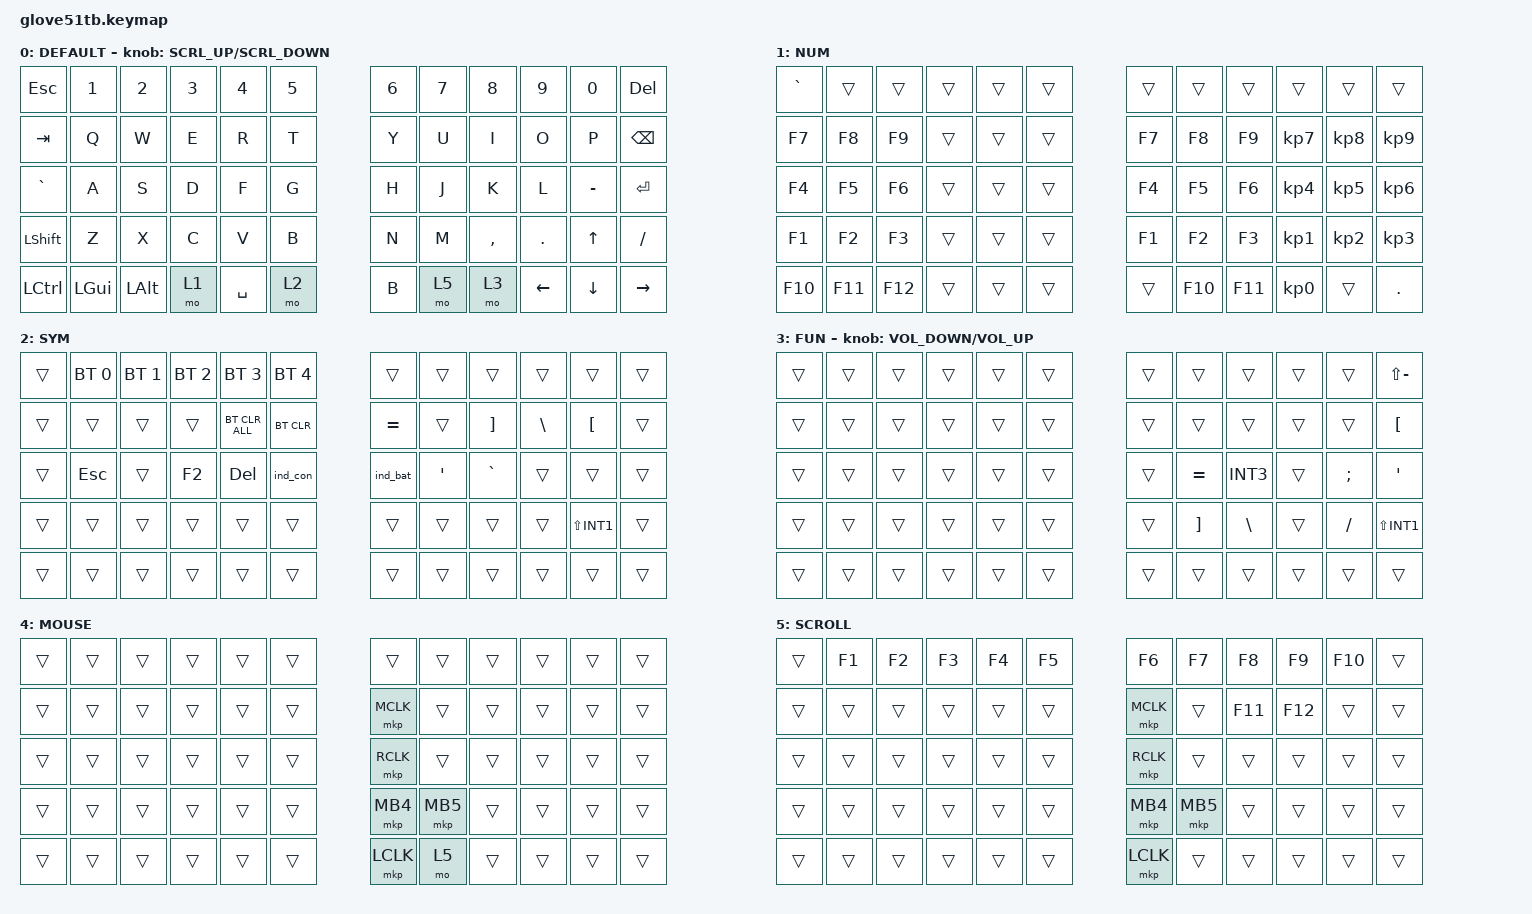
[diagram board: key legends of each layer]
#define ZMK_POINTING_DEFAULT_SCRL_VAL 150

#include <behaviors/rgbled_widget.dtsi>
#include <dt-bindings/zmk/input_transform.h>
#include <input/processors.dtsi>
#include <zephyr/dt-bindings/input/input-event-codes.h>
#include <behaviors.dtsi>
#include <dt-bindings/zmk/bt.h>
#include <dt-bindings/zmk/keys.h>
#include <dt-bindings/zmk/pointing.h>
#include <dt-bindings/zmk/mouse.h>   // ← これを追加（マウスのクリック用）
#include <dt-bindings/zmk/outputs.h> // ← これを追加（接続先のインジケーター等用）

// Layer Numbering

#define DEFAULT 0
#define NUM     1
#define SYM     2
#define FUN     3
#define MOUSE   4
#define SCROLL  5

&mmv {
    delay-ms = <20>;
    trigger-period-ms = <5>;
    time-to-max-speed-ms = <100>;
    acceleration-exponent = <2>;
};

&msc {
    delay-ms = <3>;
    trigger-period-ms = <3>;
    time-to-max-speed-ms = <100>;
    acceleration-exponent = <0>;
};

/ {
    input_processors {
        zip_wheel_scaler: zip_wheel_scaler {
            compatible = "zmk,input-processor-scaler";
            #input-processor-cells = <2>;
            type = <INPUT_EV_REL>;
            codes = <INPUT_REL_WHEEL>;
            track-remainders;
        };
    };
};

/ {
    combos {
        compatible = "zmk,combos";

        scroll {
            bindings = <&mo 5>;
            key-positions = <35 36>;
        };
    };

    behaviors {
        sensor_rotate_kp: sensor_rotate_kp {
            compatible = "zmk,behavior-sensor-rotate-var";
            #sensor-binding-cells = <2>;
            bindings = <&kp>, <&kp>;
        };

        mouse_wheel_scroll: mouse_wheel_scroll {
            compatible = "zmk,behavior-sensor-rotate-var";
            #sensor-binding-cells = <2>;
            bindings = <&msc>, <&msc>;

            tap-ms = <20>;
        };
    };

keymap {
        compatible = "zmk,keymap";

        default_layer {
            label = "DEFAULT";
            bindings = <
            &kp ESC   &kp N1 &kp N2 &kp N3 &kp N4 &kp N5        &kp N6 &kp N7 &kp N8 &kp N9 &kp N0 &kp DEL
            &kp TAB   &kp Q  &kp W  &kp E  &kp R  &kp T         &kp Y  &kp U  &kp I  &kp O  &kp P  &kp BSPC
            &kp GRAVE &kp A  &kp S  &kp D  &kp F  &kp G         &kp H  &kp J  &kp K  &kp L  &kp MINUS &kp RET
            &kp LSHFT &kp Z  &kp X  &kp C  &kp V  &kp B         &kp N  &kp M  &kp COMMA &kp DOT &kp UP &kp FSLH
            &kp LCTRL  &kp LGUI &kp LALT &mo 1 &kp SPACE &mo 2   &kp B &mo 5 &mo 3 &kp LEFT &kp DOWN &kp RIGHT
            >;

            sensor-bindings = <&mouse_wheel_scroll SCRL_UP SCRL_DOWN>;
        };

        number_layer {
            label = "NUM";
            bindings = <
            &kp GRAVE &trans &trans &trans &trans &trans       &trans &trans &trans &trans &trans &trans
            &kp F7 &kp F8 &kp F9 &trans &trans &trans       &kp F7 &kp F8 &kp F9 &kp KP_N7 &kp KP_N8 &kp KP_N9
            &kp F4 &kp F5 &kp F6 &trans &trans &trans       &kp F4 &kp F5 &kp F6 &kp KP_N4 &kp KP_N5 &kp KP_N6
            &kp F1 &kp F2 &kp F3 &trans &trans &trans       &kp F1 &kp F2 &kp F3 &kp KP_N1 &kp KP_N2 &kp KP_N3
            &kp F10 &kp F11 &kp F12 &trans &trans &trans       &trans &kp F10 &kp F11 &kp KP_N0 &trans &kp DOT
            >;
        };

        symbol_layer {
            label = "SYM";
            bindings = <
            // 入らなかった記号(=, [, ], \, ', `)を右手に配置
            &trans &bt BT_SEL 0 &bt BT_SEL 1 &bt BT_SEL 2 &bt BT_SEL 3   &bt BT_SEL 4       &trans    &trans    &trans   &trans   &trans   &trans
            &trans &trans       &trans       &trans       &bt BT_CLR_ALL &bt BT_CLR         &kp EQUAL &trans  &kp RBKT &kp BSLH &kp LBKT   &trans
            &trans &kp ESC       &trans       &kp F2       &kp DEL         &ind_con           &ind_bat  &kp SQT   &kp GRAVE &trans  &trans   &trans
            &trans &trans       &trans       &trans       &trans         &trans             &trans    &trans    &trans   &trans   &kp LS(INT1) &trans
            &trans &trans       &trans       &trans       &trans         &trans             &trans    &trans    &trans   &trans   &trans   &trans
            >;
        };

        function_layer {
            label = "FUN";
            bindings = <
            // 矢印キーやマウス操作を維持
            &trans &trans &trans &trans &trans &trans               &trans &trans   &trans   &trans &trans  &kp LS(MINUS)
            &trans &trans &trans &trans &trans &trans               &trans &trans   &trans   &trans &trans  &kp LBKT
            &trans &trans &trans &trans &trans &trans               &trans &kp EQUAL &kp INT3   &trans &kp SEMI  &kp SQT
            &trans &trans &trans &trans &trans &trans               &trans &kp RBKT   &kp BSLH   &trans &kp SLASH  &kp LS(INT1)
            &trans &trans &trans &trans &trans &trans               &trans &trans   &trans   &trans &trans  &trans
            >;

            sensor-bindings = <&sensor_rotate_kp C_VOLUME_DOWN C_VOLUME_UP>;
        };

        mouse_layer {
            label = "MOUSE";
            bindings = <
            &trans &trans &trans &trans &trans &trans       &trans &trans &trans &trans &trans &trans
            &trans &trans &trans &trans &trans &trans       &mkp MCLK &trans &trans &trans &trans &trans
            &trans &trans &trans &trans &trans &trans       &mkp RCLK &trans &trans &trans &trans &trans
            &trans &trans &trans &trans &trans &trans       &mkp MB4  &mkp MB5 &trans &trans &trans &trans
            &trans &trans &trans &trans &trans &trans       &mkp LCLK &mo 5 &trans  &trans &trans &trans
            >;
        };

        scroll_layer {
            label = "SCROLL";
            bindings = <
            // F1〜F12を維持
            &trans &kp F1 &kp F2 &kp F3 &kp F4 &kp F5       &kp F6 &kp F7  &kp F8  &kp F9  &kp F10 &trans
            &trans &trans &trans &trans &trans &trans       &mkp MCLK &trans  &kp F11 &kp F12 &trans  &trans
            &trans &trans &trans &trans &trans &trans       &mkp RCLK &trans  &trans  &trans  &trans  &trans
            &trans &trans &trans &trans &trans &trans       &mkp MB4 &mkp MB5  &trans  &trans  &trans  &trans
            &trans &trans &trans &trans &trans &trans       &mkp LCLK &trans  &trans  &trans  &trans  &trans
            >;
        };
    };
};
